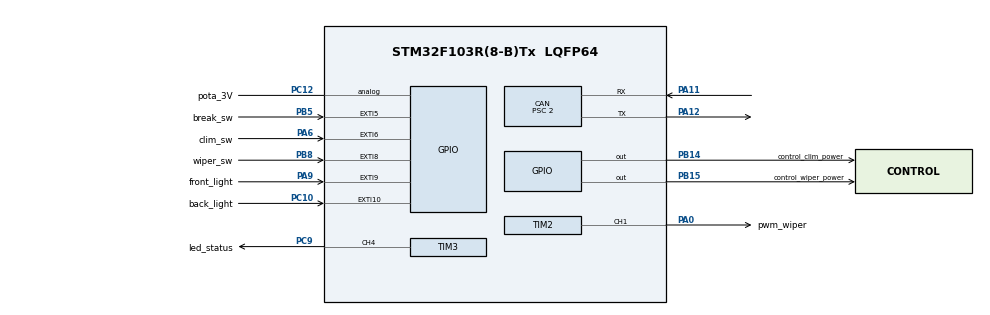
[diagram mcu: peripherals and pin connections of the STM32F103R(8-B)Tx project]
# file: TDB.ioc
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CAN.BS1=CAN_BS1_12TQ
CAN.BS2=CAN_BS2_3TQ
CAN.CalculateTimeBit=4000
CAN.CalculateTimeQuantum=250.0
CAN.Prescaler=2
Mcu.Family=STM32F1
Mcu.Name=STM32F103R(8-B)Tx
Mcu.Package=LQFP64
NVIC.EXTI15_10_IRQn=true\:0\:0\:false\:false\:true\:true\:true
NVIC.EXTI9_5_IRQn=true\:0\:0\:false\:false\:true\:true\:true
NVIC.PriorityGroup=NVIC_PRIORITYGROUP_4
NVIC.TIM1_BRK_IRQn=true\:0\:0\:false\:false\:true\:true\:true
NVIC.TIM1_CC_IRQn=true\:0\:0\:false\:false\:true\:true\:true
NVIC.TIM1_TRG_COM_IRQn=true\:0\:0\:false\:false\:true\:true\:true
NVIC.TIM1_UP_IRQn=true\:0\:0\:false\:false\:true\:true\:true
NVIC.TIM2_IRQn=true\:0\:0\:false\:false\:true\:true\:true
NVIC.TIM3_IRQn=true\:0\:0\:false\:false\:true\:true\:true
NVIC.USB_LP_CAN1_RX0_IRQn=true\:0\:0\:false\:false\:true\:true\:true
PA0-WKUP.GPIO_Label=pwm_wiper
PA0-WKUP.Signal=S_TIM2_CH1_ETR
PA11.Mode=Master
PA11.Signal=CAN_RX
PA12.Mode=Master
PA12.Signal=CAN_TX
PA13.Mode=JTAG_4_pins
PA13.Signal=SYS_JTMS-SWDIO
PA14.Mode=JTAG_4_pins
PA14.Signal=SYS_JTCK-SWCLK
PA15.Mode=JTAG_4_pins
PA15.Signal=SYS_JTDI
PA6.GPIO_Label=clim_sw
PA6.GPIO_ModeDefaultEXTI=GPIO_MODE_IT_FALLING
PA6.GPIO_PuPd=GPIO_PULLUP
PA6.Signal=GPXTI6
PA9.GPIO_Label=front_light
PA9.GPIO_ModeDefaultEXTI=GPIO_MODE_IT_FALLING
PA9.GPIO_PuPd=GPIO_PULLUP
PA9.Signal=GPXTI9
PB14.GPIO_Label=control_clim_power
PB14.GPIO_PuPd=GPIO_NOPULL
PB14.Signal=GPIO_Output
PB15.GPIO_Label=control_wiper_power
PB15.GPIO_PuPd=GPIO_NOPULL
PB15.Signal=GPIO_Output
PB3.Mode=JTAG_4_pins
PB3.Signal=SYS_JTDO-TRACESWO
PB5.GPIO_Label=break_sw
PB5.GPIO_ModeDefaultEXTI=GPIO_MODE_IT_RISING_FALLING
PB5.GPIO_PuPd=GPIO_PULLUP
PB5.Signal=GPXTI5
PB8.GPIO_Label=wiper_sw
PB8.GPIO_ModeDefaultEXTI=GPIO_MODE_IT_FALLING
PB8.GPIO_PuPd=GPIO_PULLUP
PB8.Signal=GPXTI8
PC10.GPIO_Label=back_light
PC10.GPIO_ModeDefaultEXTI=GPIO_MODE_IT_FALLING
PC10.GPIO_PuPd=GPIO_PULLUP
PC10.Signal=GPXTI10
PC12.GPIO_Label=pota_3V
PC12.Signal=GPIO_Analog
PC9.GPIO_Label=led_status
PC9.Signal=S_TIM3_CH4
ProjectManager.HeapSize=0x200
ProjectManager.StackSize=0x400
ProjectManager.TargetToolchain=STM32CubeIDE
RCC.APB1Freq_Value=8000000
RCC.APB2Freq_Value=8000000
SH.S_TIM2_CH1_ETR.0=TIM2_CH1,PWM Generation1 CH1
SH.S_TIM3_CH4.0=TIM3_CH4,PWM Generation4 CH4
TIM1.AutoReloadPreload=TIM_AUTORELOAD_PRELOAD_DISABLE
TIM1.Period=2000-1
TIM1.Prescaler=8000-1
TIM2.Channel-PWM\ Generation1\ CH1=TIM_CHANNEL_1
TIM2.OCMode_PWM-PWM\ Generation1\ CH1=TIM_OCMODE_PWM1
TIM2.Period=2000-1
TIM2.Prescaler=80-1
TIM2.Pulse-PWM\ Generation1\ CH1=100
TIM3.Channel-PWM\ Generation4\ CH4=TIM_CHANNEL_4
TIM3.Period=1000-1
TIM3.Prescaler=8000-1
TIM3.Pulse-PWM\ Generation4\ CH4=500
VP_TIM1_VS_ClockSourceINT.Mode=Internal
VP_TIM2_VS_ClockSourceINT.Mode=Internal
VP_TIM3_VS_ClockSourceINT.Mode=Internal
board=custom

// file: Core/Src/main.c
/* USER CODE BEGIN Header */
/**
  ******************************************************************************
  * @file           : main.c
  * @brief          : Main program body
  ******************************************************************************
  * @attention
  *
  * <h2><center>&copy; Copyright (c) 2020 STMicroelectronics.
  * All rights reserved.</center></h2>
  *
  * This software component is licensed by ST under BSD 3-Clause license,
  * the "License"; You may not use this file except in compliance with the
  * License. You may obtain a copy of the License at:
  *                        opensource.org/licenses/BSD-3-Clause
  *
  ******************************************************************************
  */
/* USER CODE END Header */

#include "main.h"

/* USER CODE BEGIN Includes */
#include "USER_CAN_DATA.h"
#include "TIM_TDB.h"
#include "wiper.h"
/* USER CODE END Includes */

CAN_HandleTypeDef hcan;

TIM_HandleTypeDef htim1;
TIM_HandleTypeDef htim2;
TIM_HandleTypeDef htim3;

void SystemClock_Config(void);
static void MX_GPIO_Init(void);
static void MX_CAN_Init(void);
static void MX_TIM1_Init(void);
static void MX_TIM2_Init(void);
static void MX_TIM3_Init(void);
/* USER CODE BEGIN PFP */
static void Wiper_State(void);
/* USER CODE END PFP */

/* USER CODE BEGIN 0 */

	State wiperState;
	CAN_TxHeaderTypeDef pHeader;
	uint8_t aData[1];
	uint32_t pTxMailbox;

/* USER CODE END 0 */

int main(void)
{
  /* USER CODE BEGIN 1 */
	//configure CAN header
	pHeader.ExtId=DASHBOARD_ADDR;
	pHeader.DLC=1;
	pHeader.IDE=CAN_ID_EXT;
	pHeader.RTR=CAN_RTR_DATA;
	pHeader.TransmitGlobalTime=DISABLE;

  /* USER CODE END 1 */

  /* MCU Configuration--------------------------------------------------------*/

  /* Reset of all peripherals, Initializes the Flash interface and the Systick. */
  HAL_Init();

  /* Configure the system clock */
  SystemClock_Config();

  /* Initialize all configured peripherals */
  MX_GPIO_Init();
  MX_CAN_Init();
  MX_TIM1_Init();
  MX_TIM2_Init();
  MX_TIM3_Init();
  /* USER CODE BEGIN 2 */
  HAL_CAN_Start(&hcan);
  HAL_CAN_AddTxMessage(&hcan, &pHeader, aData, &pTxMailbox);

  HAL_TIM_PWM_Init(&htim2);
  HAL_TIM_PWM_Init(&htim3);

  HAL_TIM_PWM_Start(&htim2, TIM_CHANNEL_1);
  HAL_TIM_PWM_Start(&htim3, TIM_CHANNEL_4);
  HAL_TIM_Base_Start_IT(&htim1);

  /* USER CODE END 2 */

  /* Infinite loop */
  while (1)
  {

  }
}

void SystemClock_Config(void)
{
  RCC_OscInitTypeDef RCC_OscInitStruct = {0};
  RCC_ClkInitTypeDef RCC_ClkInitStruct = {0};

  /** Initializes the CPU, AHB and APB busses clocks
  */
  RCC_OscInitStruct.OscillatorType = RCC_OSCILLATORTYPE_HSI;
  RCC_OscInitStruct.HSIState = RCC_HSI_ON;
  RCC_OscInitStruct.HSICalibrationValue = RCC_HSICALIBRATION_DEFAULT;
  RCC_OscInitStruct.PLL.PLLState = RCC_PLL_NONE;
  if (HAL_RCC_OscConfig(&RCC_OscInitStruct) != HAL_OK)
  {
    Error_Handler();
  }
  /** Initializes the CPU, AHB and APB busses clocks
  */
  RCC_ClkInitStruct.ClockType = RCC_CLOCKTYPE_HCLK|RCC_CLOCKTYPE_SYSCLK
                              |RCC_CLOCKTYPE_PCLK1|RCC_CLOCKTYPE_PCLK2;
  RCC_ClkInitStruct.SYSCLKSource = RCC_SYSCLKSOURCE_HSI;
  RCC_ClkInitStruct.AHBCLKDivider = RCC_SYSCLK_DIV1;
  RCC_ClkInitStruct.APB1CLKDivider = RCC_HCLK_DIV1;
  RCC_ClkInitStruct.APB2CLKDivider = RCC_HCLK_DIV1;

  if (HAL_RCC_ClockConfig(&RCC_ClkInitStruct, FLASH_LATENCY_0) != HAL_OK)
  {
    Error_Handler();
  }
}

static void MX_CAN_Init(void)
{

  hcan.Instance = CAN1;
  hcan.Init.Prescaler = 2;
  hcan.Init.Mode = CAN_MODE_NORMAL;
  hcan.Init.SyncJumpWidth = CAN_SJW_1TQ;
  hcan.Init.TimeSeg1 = CAN_BS1_12TQ;
  hcan.Init.TimeSeg2 = CAN_BS2_3TQ;
  hcan.Init.TimeTriggeredMode = DISABLE;
  hcan.Init.AutoBusOff = DISABLE;
  hcan.Init.AutoWakeUp = DISABLE;
  hcan.Init.AutoRetransmission = DISABLE;
  hcan.Init.ReceiveFifoLocked = DISABLE;
  hcan.Init.TransmitFifoPriority = DISABLE;
  if (HAL_CAN_Init(&hcan) != HAL_OK)
  {
    Error_Handler();
  }

}

static void MX_TIM1_Init(void)
{

  TIM_ClockConfigTypeDef sClockSourceConfig = {0};
  TIM_MasterConfigTypeDef sMasterConfig = {0};

  htim1.Instance = TIM1;
  htim1.Init.Prescaler = 8000-1;
  htim1.Init.CounterMode = TIM_COUNTERMODE_UP;
  htim1.Init.Period = 2000-1;
  htim1.Init.ClockDivision = TIM_CLOCKDIVISION_DIV1;
  htim1.Init.RepetitionCounter = 0;
  htim1.Init.AutoReloadPreload = TIM_AUTORELOAD_PRELOAD_DISABLE;
  if (HAL_TIM_Base_Init(&htim1) != HAL_OK)
  {
    Error_Handler();
  }
  sClockSourceConfig.ClockSource = TIM_CLOCKSOURCE_INTERNAL;
  if (HAL_TIM_ConfigClockSource(&htim1, &sClockSourceConfig) != HAL_OK)
  {
    Error_Handler();
  }
  sMasterConfig.MasterOutputTrigger = TIM_TRGO_RESET;
  sMasterConfig.MasterSlaveMode = TIM_MASTERSLAVEMODE_DISABLE;
  if (HAL_TIMEx_MasterConfigSynchronization(&htim1, &sMasterConfig) != HAL_OK)
  {
    Error_Handler();
  }

}

static void MX_TIM2_Init(void)
{

  TIM_ClockConfigTypeDef sClockSourceConfig = {0};
  TIM_MasterConfigTypeDef sMasterConfig = {0};
  TIM_OC_InitTypeDef sConfigOC = {0};

  htim2.Instance = TIM2;
  htim2.Init.Prescaler = 80-1;
  htim2.Init.CounterMode = TIM_COUNTERMODE_UP;
  htim2.Init.Period = 2000-1;
  htim2.Init.ClockDivision = TIM_CLOCKDIVISION_DIV1;
  htim2.Init.AutoReloadPreload = TIM_AUTORELOAD_PRELOAD_DISABLE;
  if (HAL_TIM_Base_Init(&htim2) != HAL_OK)
  {
    Error_Handler();
  }
  sClockSourceConfig.ClockSource = TIM_CLOCKSOURCE_INTERNAL;
  if (HAL_TIM_ConfigClockSource(&htim2, &sClockSourceConfig) != HAL_OK)
  {
    Error_Handler();
  }
  if (HAL_TIM_PWM_Init(&htim2) != HAL_OK)
  {
    Error_Handler();
  }
  sMasterConfig.MasterOutputTrigger = TIM_TRGO_RESET;
  sMasterConfig.MasterSlaveMode = TIM_MASTERSLAVEMODE_DISABLE;
  if (HAL_TIMEx_MasterConfigSynchronization(&htim2, &sMasterConfig) != HAL_OK)
  {
    Error_Handler();
  }
  sConfigOC.OCMode = TIM_OCMODE_PWM1;
  sConfigOC.Pulse = 100;
  sConfigOC.OCPolarity = TIM_OCPOLARITY_HIGH;
  sConfigOC.OCFastMode = TIM_OCFAST_DISABLE;
  if (HAL_TIM_PWM_ConfigChannel(&htim2, &sConfigOC, TIM_CHANNEL_1) != HAL_OK)
  {
    Error_Handler();
  }
  HAL_TIM_MspPostInit(&htim2);

}

static void MX_TIM3_Init(void)
{

  TIM_ClockConfigTypeDef sClockSourceConfig = {0};
  TIM_MasterConfigTypeDef sMasterConfig = {0};
  TIM_OC_InitTypeDef sConfigOC = {0};

  htim3.Instance = TIM3;
  htim3.Init.Prescaler = 8000-1;
  htim3.Init.CounterMode = TIM_COUNTERMODE_UP;
  htim3.Init.Period = 1000-1;
  htim3.Init.ClockDivision = TIM_CLOCKDIVISION_DIV1;
  htim3.Init.AutoReloadPreload = TIM_AUTORELOAD_PRELOAD_DISABLE;
  if (HAL_TIM_Base_Init(&htim3) != HAL_OK)
  {
    Error_Handler();
  }
  sClockSourceConfig.ClockSource = TIM_CLOCKSOURCE_INTERNAL;
  if (HAL_TIM_ConfigClockSource(&htim3, &sClockSourceConfig) != HAL_OK)
  {
    Error_Handler();
  }
  if (HAL_TIM_PWM_Init(&htim3) != HAL_OK)
  {
    Error_Handler();
  }
  sMasterConfig.MasterOutputTrigger = TIM_TRGO_RESET;
  sMasterConfig.MasterSlaveMode = TIM_MASTERSLAVEMODE_DISABLE;
  if (HAL_TIMEx_MasterConfigSynchronization(&htim3, &sMasterConfig) != HAL_OK)
  {
    Error_Handler();
  }
  sConfigOC.OCMode = TIM_OCMODE_PWM1;
  sConfigOC.Pulse = 500;
  sConfigOC.OCPolarity = TIM_OCPOLARITY_HIGH;
  sConfigOC.OCFastMode = TIM_OCFAST_DISABLE;
  if (HAL_TIM_PWM_ConfigChannel(&htim3, &sConfigOC, TIM_CHANNEL_4) != HAL_OK)
  {
    Error_Handler();
  }
  HAL_TIM_MspPostInit(&htim3);

}

static void MX_GPIO_Init(void)
{
  GPIO_InitTypeDef GPIO_InitStruct = {0};

  /* GPIO Ports Clock Enable */
  __HAL_RCC_GPIOA_CLK_ENABLE();
  __HAL_RCC_GPIOB_CLK_ENABLE();
  __HAL_RCC_GPIOC_CLK_ENABLE();

  /*Configure GPIO pin Output Level */
  HAL_GPIO_WritePin(GPIOB, control_clim_power_Pin|control_wiper_power_Pin, GPIO_PIN_RESET);

  /*Configure GPIO pins : clim_sw_Pin front_light_Pin */
  GPIO_InitStruct.Pin = clim_sw_Pin|front_light_Pin;
  GPIO_InitStruct.Mode = GPIO_MODE_IT_FALLING;
  GPIO_InitStruct.Pull = GPIO_PULLUP;
  HAL_GPIO_Init(GPIOA, &GPIO_InitStruct);

  /*Configure GPIO pins : control_clim_power_Pin control_wiper_power_Pin */
  GPIO_InitStruct.Pin = control_clim_power_Pin|control_wiper_power_Pin;
  GPIO_InitStruct.Mode = GPIO_MODE_OUTPUT_PP;
  GPIO_InitStruct.Pull = GPIO_NOPULL;
  GPIO_InitStruct.Speed = GPIO_SPEED_FREQ_LOW;
  HAL_GPIO_Init(GPIOB, &GPIO_InitStruct);

  /*Configure GPIO pin : back_light_Pin */
  GPIO_InitStruct.Pin = back_light_Pin;
  GPIO_InitStruct.Mode = GPIO_MODE_IT_FALLING;
  GPIO_InitStruct.Pull = GPIO_PULLUP;
  HAL_GPIO_Init(back_light_GPIO_Port, &GPIO_InitStruct);

  /*Configure GPIO pin : pota_3V_Pin */
  GPIO_InitStruct.Pin = pota_3V_Pin;
  GPIO_InitStruct.Mode = GPIO_MODE_ANALOG;
  HAL_GPIO_Init(pota_3V_GPIO_Port, &GPIO_InitStruct);

  /*Configure GPIO pin : break_sw_Pin */
  GPIO_InitStruct.Pin = break_sw_Pin;
  GPIO_InitStruct.Mode = GPIO_MODE_IT_RISING_FALLING;
  GPIO_InitStruct.Pull = GPIO_PULLUP;
  HAL_GPIO_Init(break_sw_GPIO_Port, &GPIO_InitStruct);

  /*Configure GPIO pin : wiper_sw_Pin */
  GPIO_InitStruct.Pin = wiper_sw_Pin;
  GPIO_InitStruct.Mode = GPIO_MODE_IT_FALLING;
  GPIO_InitStruct.Pull = GPIO_PULLUP;
  HAL_GPIO_Init(wiper_sw_GPIO_Port, &GPIO_InitStruct);

  /* EXTI interrupt init*/
  HAL_NVIC_SetPriority(EXTI9_5_IRQn, 0, 0);
  HAL_NVIC_EnableIRQ(EXTI9_5_IRQn);

  HAL_NVIC_SetPriority(EXTI15_10_IRQn, 0, 0);
  HAL_NVIC_EnableIRQ(EXTI15_10_IRQn);

}

/* USER CODE BEGIN 4 */
static void Wiper_State(void)
{	State ActualState,NextState;
	if (ActualState == Speeding) {NextState = Stoped;}
	else  NextState = ActualState ++;
}
/* USER CODE END 4 */

void Error_Handler(void)
{
}

/************************ (C) COPYRIGHT STMicroelectronics *****END OF FILE****/
